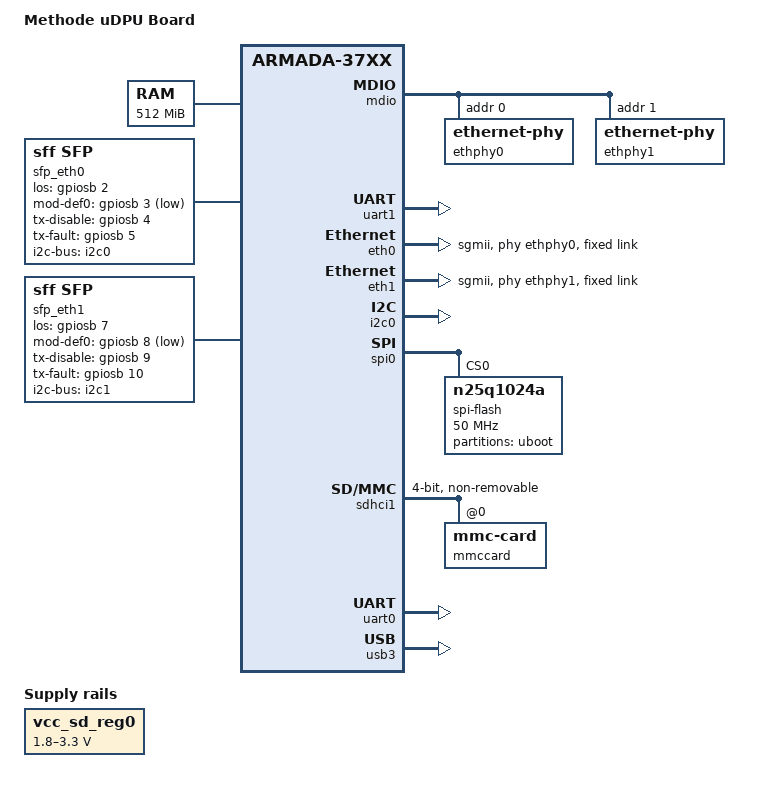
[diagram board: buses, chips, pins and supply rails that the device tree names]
// SPDX-License-Identifier: (GPL-2.0+ OR MIT)
/*
 * Device tree for the uDPU board.
 * Based on Marvell Armada 3720 development board (DB-88F3720-DDR3)
 * Copyright (C) 2016 Marvell
 * Copyright (C) 2018 Methode
 * Copyright (C) 2018 Telus
 *
 * Vladimir Vid <vladimir.vid@sartura.hr>
 */

/dts-v1/;

#include "armada-37xx.dtsi"
#include "armada-3720-uDPU-u-boot.dtsi"

/ {
	model = "Methode uDPU Board";
	compatible = "methode,udpu";

	chosen {
		stdout-path = "serial0:115200n8";
		bootargs = "console=ttyMV0,115200 earlycon=ar3700_uart,0xd0012000";
	};

	aliases {
		i2c0 = &i2c0;
		i2c1 = &i2c1;
		spi0 = &spi0;
	};

	memory@0 {
		device_type = "memory";
		reg = <0x00000000 0x00000000 0x00000000 0x20000000>;
	};

	mdio: mdio@32004 {
		#address-cells = <1>;
		#size-cells = <0>;
		ethphy0: ethernet-phy@0 {
			 reg = <0>;
		};
		ethphy1: ethernet-phy@1 {
			reg = <1>;
		};
	};

	scsi: scsi {
		compatible = "marvell,mvebu-scsi";
		#address-cells = <1>;
		#size-cells = <1>;
		max-id = <1>;
		max-lun = <1>;
		status = "okay";
	};

	i2c1: i2c@11080 {
		compatible = "marvell,armada-3700-i2c", "simple-bus";
		reg = <0x0 0x11080 0x0 0x80>;
		pinctrl-names = "default";
		pinctrl-0 = <&i2c2_pins>;
		#address-cells = <2>;
		#size-cells = <2>;
		status = "okay";
	};

	uart1: serial@12200 {
		compatible = "marvell,armada-3700-uart-ext";
		reg = <0x0 0x12200 0x0 0x30>;
		pinctrl-names = "default";
		pinctrl-0 = <&uart2_pins>;
		interrupts = <GIC_SPI 31 IRQ_TYPE_LEVEL_HIGH>;
		status = "okay";
		#address-cells = <2>;
		#size-cells = <2>;
	};

	vcc_sd_reg0: regulator@0 {
		compatible = "regulator-gpio";
		regulator-name = "vcc_sd0";
		regulator-min-microvolt = <1800000>;
		regulator-max-microvolt = <3300000>;
		regulator-type = "voltage";
		states = <1800000 0x1
			3300000 0x0>;
		gpios = <&gpiosb 23 GPIO_ACTIVE_HIGH>;
	};

	sfp_eth0: sfp-eth0 {
		compatible = "sff,sfp";
		i2c-bus = <&i2c0>;
		los-gpio = <&gpiosb 2 GPIO_ACTIVE_HIGH>;
		mod-def0-gpio = <&gpiosb 3 GPIO_ACTIVE_LOW>;
		tx-disable-gpio = <&gpiosb 4 GPIO_ACTIVE_HIGH>;
		tx-fault-gpio = <&gpiosb 5 GPIO_ACTIVE_HIGH>;
	};

	sfp_eth1: sfp-eth1 {
		compatible = "sff,sfp";
		i2c-bus = <&i2c1>;
		sfp,ethernet = <&eth1>;
		los-gpio = <&gpiosb 7 GPIO_ACTIVE_HIGH>;
		mod-def0-gpio = <&gpiosb 8 GPIO_ACTIVE_LOW>;
		tx-disable-gpio = <&gpiosb 9 GPIO_ACTIVE_HIGH>;
		tx-fault-gpio = <&gpiosb 10 GPIO_ACTIVE_HIGH>;
	};
};

&comphy {
	phy0 {
		phy-type = <PHY_TYPE_SGMII1>;
		phy-speed = <PHY_SPEED_1_25G>;
	};
        phy1 {
                phy-type = <PHY_TYPE_SGMII0>;
                phy-speed = <PHY_SPEED_1_25G>;
        };

        phy2 {
                phy-type = <PHY_TYPE_USB3_HOST1>;
                phy-speed = <PHY_SPEED_5G>;
        };
};

&eth0 {
	pinctrl-0 = <&pcie_pins>;
	status = "okay";
	phy-mode = "sgmii";
	phy = <&ethphy0>;
	fixed-link {
		speed = <1000>;
		full-duplex;
	};
};

&eth1 {
	status = "okay";
	phy-mode = "sgmii";
	phy = <&ethphy1>;
	fixed-link {
		speed = <1000>;
		full-duplex;
	};
};

&i2c0 {
        pinctrl-names = "default";
        pinctrl-0 = <&i2c1_pins>;
        status = "okay";
};

&spi0 {
	status = "okay";
	pinctrl-names = "default";
	pinctrl-0 = <&spi_quad_pins>;

	spi-flash@0 {
		#address-cells = <1>;
		#size-cells = <1>;
		compatible = "n25q1024a","n25q512a";
		reg = <0>;
		spi-max-frequency = <50000000>;
		spi-rx-bus-width = <4>;
		spi-tx-bus-width = <4>;
		m25p,fast-read;

		partition@0 {
			label = "uboot";
			reg = <0 0x400000>;
		};
	};
};

&sdhci1 {
	non-removable;
	mmc-ddr-1_8v;
	mmc-hs200-1_8v;
	bus-width = <4>;
	vqmmc-supply = <&vcc_sd_reg0>;
	pinctrl-names = "default";
	pinctrl-0 = <&sdio_pins>;
	status = "okay";

	#address-cells = <1>;
	#size-cells = <0>;
	mmccard: mmccard@0 {
		compatible = "mmc-card";
		reg = <0>;
	};
};

&uart0 {
	pinctrl-names = "default";
	pinctrl-0 = <&uart1_pins>;
	status = "okay";
};

&usb3 {
	status = "okay";
};
